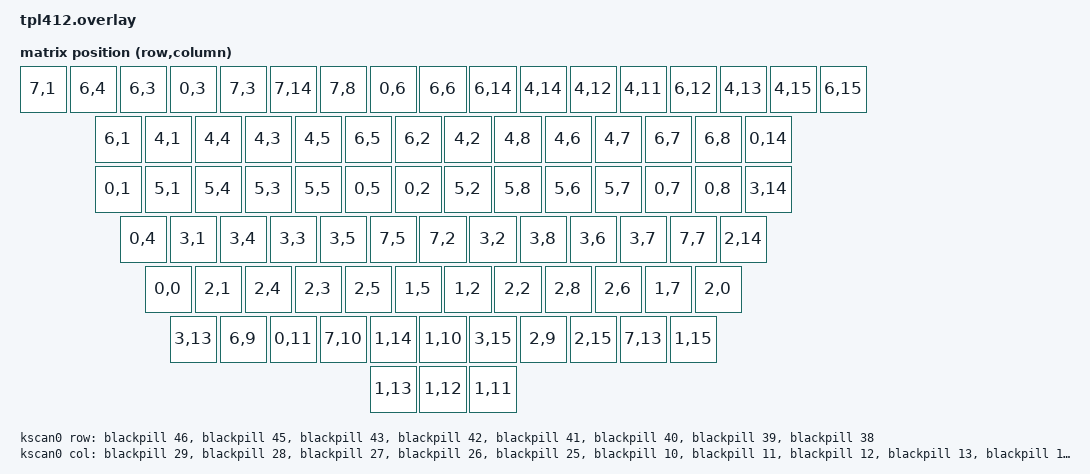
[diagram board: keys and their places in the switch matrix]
#include <dt-bindings/zmk/matrix_transform.h> 
#include "tpl412-layouts.dtsi"

/ {
    chosen {
        zmk,physical-layout = &layout_0;
    };
    
    kscan0: kscan {
        compatible = "zmk,kscan-gpio-matrix";
        diode-direction = "col2row";
        wakeup-source;

        col-gpios
            = <&blackpill 29 GPIO_ACTIVE_HIGH>
            , <&blackpill 28 GPIO_ACTIVE_HIGH>
            , <&blackpill 27 GPIO_ACTIVE_HIGH>
            , <&blackpill 26 GPIO_ACTIVE_HIGH>
            , <&blackpill 25 GPIO_ACTIVE_HIGH>
            , <&blackpill 10 GPIO_ACTIVE_HIGH>
            , <&blackpill 11 GPIO_ACTIVE_HIGH>
            , <&blackpill 12 GPIO_ACTIVE_HIGH>
            , <&blackpill 13 GPIO_ACTIVE_HIGH>
            , <&blackpill 14 GPIO_ACTIVE_HIGH>
            , <&blackpill 15 GPIO_ACTIVE_HIGH>
            , <&blackpill 16 GPIO_ACTIVE_HIGH>
            , <&blackpill 17 GPIO_ACTIVE_HIGH>
            , <&blackpill 18 GPIO_ACTIVE_HIGH>
            , <&blackpill 19 GPIO_ACTIVE_HIGH>
            , <&blackpill 21 GPIO_ACTIVE_HIGH>
            ;

        row-gpios
            = <&blackpill 46 (GPIO_ACTIVE_HIGH | GPIO_PULL_DOWN)>
            , <&blackpill 45 (GPIO_ACTIVE_HIGH | GPIO_PULL_DOWN)>
            , <&blackpill 43 (GPIO_ACTIVE_HIGH | GPIO_PULL_DOWN)>
            , <&blackpill 42 (GPIO_ACTIVE_HIGH | GPIO_PULL_DOWN)>
            , <&blackpill 41 (GPIO_ACTIVE_HIGH | GPIO_PULL_DOWN)>
            , <&blackpill 40 (GPIO_ACTIVE_HIGH | GPIO_PULL_DOWN)>
            , <&blackpill 39 (GPIO_ACTIVE_HIGH | GPIO_PULL_DOWN)>
            , <&blackpill 38 (GPIO_ACTIVE_HIGH | GPIO_PULL_DOWN)>
            ;
    };

    default_transform: matrix_transform {
        compatible = "zmk,matrix-transform";
        columns = <16>; // Length of the "col-gpios" array
        rows = <8>; // Length of the "row-gpios" array
        map = <
        //  Esc   F1     F2     F3     F4      F5     F6     F7     F8      F9     F10     F11     F12      ins   del   home   end
        //  Grave   1       2       3       4       5        6       7       8       9        0        -        =      backspace
        //  tab      q       w       e       r       t        y       u       i       o        p        [        ]         \
        //  caps       a       s       d       f       g        h       j       k       l        ;        '         enter
        //  lshift         z       x       c       v       b        n       m       ,       .        /           rshift
        //  fn    lctrl   lgui   lalt                    space                     ralt    menu    rctrl   pgup     up       pgdn
        //                                                                                                 left     down     right
            RC(7,1)   RC(6,4) RC(6,3) RC(0,3) RC(7,3)  RC(7,14) RC(7,8) RC(0,6) RC(6,6)  RC(6,14) RC(4,14) RC(4,12) RC(4,11)  RC(6,12) RC(4,13) RC(4,15) RC(6,15)
            RC(6,1)   RC(4,1)  RC(4,4)  RC(4,3)  RC(4,5)    RC(6,5)  RC(6,2)  RC(4,2)  RC(4,8)    RC(4,6)    RC(4,7)    RC(6,7)    RC(6,8)          RC(0,14)
            RC(0,1)      RC(5,1)  RC(5,4)  RC(5,3)  RC(5,5)    RC(0,5)  RC(0,2)  RC(5,2)  RC(5,8)    RC(5,6)    RC(5,7)    RC(0,7)    RC(0,8)     RC(3,14) 
            RC(0,4)       RC(3,1)  RC(3,4)  RC(3,3)  RC(3,5)    RC(7,5)  RC(7,2)  RC(3,2)  RC(3,8)    RC(3,6)    RC(3,7)    RC(7,7)        RC(2,14) 
            RC(0,0)           RC(2,1)  RC(2,4)  RC(2,3)  RC(2,5)    RC(1,5)  RC(1,2)  RC(2,2)  RC(2,8)    RC(2,6)    RC(1,7)          RC(2,0)
            RC(3,13)  RC(6,9) RC(0,11) RC(7,10)                     RC(1,14)                   RC(1,10)   RC(3,15)   RC(2,9)       RC(2,15)   RC(7,13)   RC(1,15)
                                                                                                                                   RC(1,13)   RC(1,12)   RC(1,11)
        >;
    };

};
